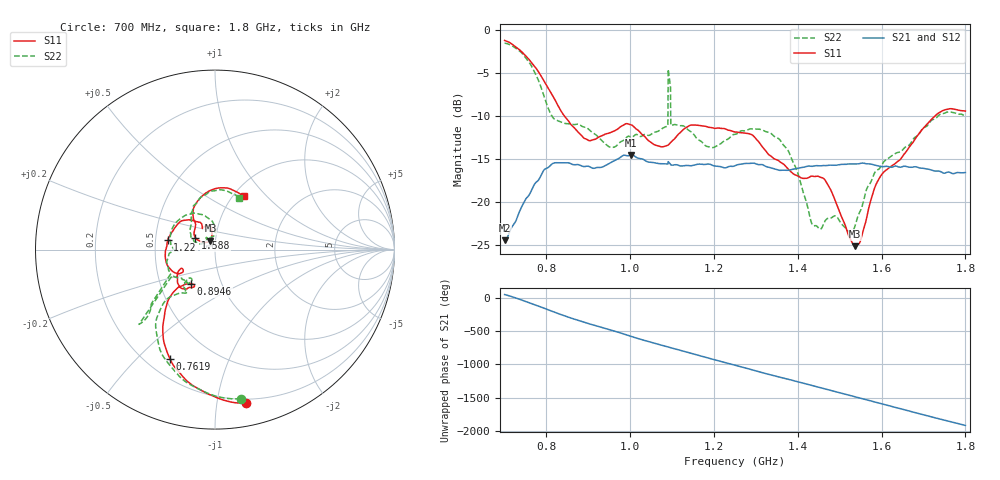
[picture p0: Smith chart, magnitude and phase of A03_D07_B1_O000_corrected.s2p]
! Created with skrf 1.9.0 (http://scikit-rf.org).
# Hz S RI R 50.0
!freq ReS11 ImS11 ReS21 ImS21 ReS12 ImS12 ReS22 ImS22
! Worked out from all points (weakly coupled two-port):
!   1601 points, 700 MHz to 1.8 GHz, reference 50 ohm
!   highest |S21| = -14.52 dB at 1.002 GHz (marker M1); lowest = -24.5 dB at 700 MHz (marker M2)
!   lowest |S11| = -25.2 dB at 1.536 GHz (marker M3), VSWR 1.12, Z = 47.3 + j4.65 ohm
!   |S11| at or under -10 dB: 843.1 MHz to 1.727 GHz (883.9 MHz wide, 68.8 % of centre)
!   |S22| runs from -23.5 to -1.5 dB; largest |S21 - S12| = 0.0036
!   S11 on the Smith chart (normalised r, x): 700 MHz: 0.17, -1.21; 761.9 MHz: 0.29, -0.63; 894.6 MHz: 0.72, -0.29; 1.22 GHz: 0.58, +0.07; 1.588 GHz: 0.80, +0.11; 1.8 GHz: 1.12, +0.75
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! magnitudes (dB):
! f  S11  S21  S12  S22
! 700 MHz  -1.2  -24.5  -24.3  -1.5
! 761.9 MHz  -3.6  -18.9  -18.8  -4.0
! 816.2 MHz  -7.7  -15.5  -15.6  -10.2
! 883.6 MHz  -12.3  -15.8  -15.7  -11.1
! 894.6 MHz  -12.7  -15.8  -15.9  -11.3
! 953.7 MHz  -11.9  -15.4  -15.4  -13.6
! 1.002 GHz  -11.0  -14.5  -14.6  -12.4
! 1.067 GHz  -13.5  -15.5  -15.5  -11.7
! 1.084 GHz  -13.5  -15.6  -15.5  -11.2
! 1.096 GHz  -13.1  -15.6  -15.6  -6.6
! 1.102 GHz  -12.8  -15.7  -15.6  -11.0
! 1.22 GHz  -11.4  -15.9  -16.0  -13.1
! 1.25 GHz  -11.8  -15.8  -15.7  -12.1
! 1.357 GHz  -15.3  -16.3  -16.3  -12.8
! 1.396 GHz  -16.9  -16.1  -16.1  -16.1
! 1.434 GHz  -17.0  -15.8  -15.8  -22.6
! 1.469 GHz  -17.8  -15.8  -15.7  -22.0
! 1.536 GHz  -25.2  -15.6  -15.6  -22.9
! 1.588 GHz  -17.9  -15.7  -15.8  -16.3
! 1.617 GHz  -16.0  -15.9  -15.9  -14.9
! 1.735 GHz  -9.7  -16.4  -16.5  -10.0
! 1.8 GHz  -9.4  -16.6  -16.6  -10.0
